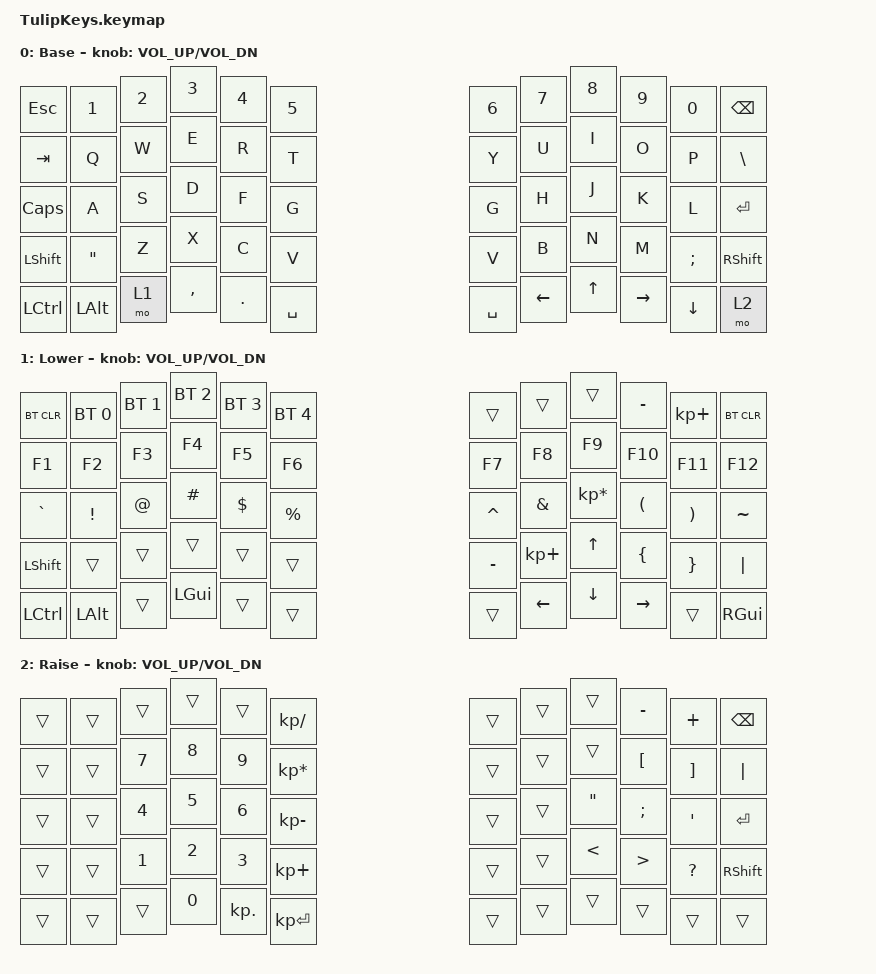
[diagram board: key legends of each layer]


#include <behaviors.dtsi>
#include <dt-bindings/zmk/keys.h>
#include <dt-bindings/zmk/bt.h>
#include <dt-bindings/zmk/ext_power.h>
#include <dt-bindings/zmk/outputs.h>

/ {
    keymap {
        compatible = "zmk,keymap";

        default_layer {
// ------------------------------------------------------------------------------------------------------------
// |  ESC  |  1  |  2  |  3   |  4   |  5   |                           |  6   |  7    |  8    |  9   |   0   |  BKSP |
// |  TAB  |  Q  |  W  |  E   |  R   |  T   |                           |  Y   |  U    |  I    |  O   |   P   |   \   |
// |  CAPS |  A  |  S  |  D   |  F   |  G   |                           |  G   |  H    |  J    |  K   |   L   |  ENT  |   
// | SHIFT |  "  |  Z  |  X   |  C   |  V   |                           |  V   |  B    |  N    |  M   |   ;   | SHIFT |
// | CTRL  | ALT | LYR |  ,   |  .   | SPC  |                           | SPC  | LARW  |  UARW | RARW | DARW  | LYR  |

            display-name = "Base";     
            bindings = <
&kp ESC   &kp N1    &kp N2    &kp N3     &kp N4     &kp N5              &kp N6     &kp N7   &kp N8     &kp N9    &kp N0     &kp BKSP
&kp TAB   &kp Q     &kp W     &kp E      &kp R      &kp T               &kp Y      &kp U    &kp I      &kp O     &kp P      &kp BSLH
&kp CAPS  &kp A     &kp S     &kp D      &kp F      &kp G               &kp G      &kp H    &kp J      &kp K     &kp L      &kp ENTER
&kp LSHFT &kp DQT &kp Z     &kp X      &kp C      &kp V               &kp V      &kp B    &kp N      &kp M     &kp SEMI    &kp RSHFT
&kp LCTRL &kp LALT  &mo 1     &kp COMMA  &kp DOT    &kp SPACE           &kp SPACE  &kp LEFT &kp UP     &kp RIGHT &kp DOWN   &mo 2
            >; 

            sensor-bindings = <&inc_dec_kp C_VOL_UP C_VOL_DN>;
        };

        lower_layer {
// ------------------------------------------------------------------------------------------------------------
// | BTCLR | BT1 | BT2 |  BT3 |  BT4 |  BT5 |                   | prv  | USB   |. BLE.   |  -   |   =   | BTCLR |
// |  F1   |  F2 |  F3 |  F4  |  F5  |  F6  |                   |  F7  |  F8   |  F9   |  F10 |  F11  |  F12  |
// |   `   |  !  |  @  |  #   | DOLL |  %   |                   |  ^   |  &    |  *    |  (   |   )   |   ~   |
// | LSHFT |     |     |      |      |      |                   |  -   |   +   | UARW  |  {   |   }   |  "|"  |
// | CTRL  | ALT |(LYR)|  GUI |      |      |                   |      | LARW  | DARW  | RARW |       |  RGUI |       
            display-name = "Lower";
            bindings = <
&bt BT_CLR &bt BT_SEL 0 &bt BT_SEL 1 &bt BT_SEL 2 &bt BT_SEL 3 &bt BT_SEL 4                 &trans   &trans    &trans    &kp MINUS  &kp KP_PLUS  &bt BT_CLR
&kp F1     &kp F2       &kp F3       &kp F4       &kp F5       &kp F6                       &kp F7       &kp F8       &kp F9          &kp F10    &kp F11   &kp F12
&kp GRAVE  &kp EXCL     &kp AT       &kp HASH     &kp DOLLAR     &kp PRCNT                    &kp CARET    &kp AMPS     &kp KP_MULTIPLY &kp LPAR   &kp RPAR  &kp TILDE
&kp LSHFT  &trans       &trans       &trans       &trans       &trans                       &kp MINUS    &kp KP_PLUS  &kp UP          &kp LBRC   &kp RBRC  &kp PIPE
&kp LCTRL  &kp LALT     &trans       &kp LGUI     &trans       &trans                       &trans       &kp LEFT     &kp DOWN        &kp RIGHT  &trans    &kp RGUI
            >; 

            sensor-bindings = <&inc_dec_kp C_VOL_UP C_VOL_DN>;
        };

        raise_layer {
// ------------------------------------------------------------------------------------------------------------
// |       |     |     |      |      |   /  |                   |      |       |        |  -   |   +  |  BKSP  |
// |       |     |  7  |  8   |  9   |   *  |                   |      |       |        |  [   |   ]  |  '|'   |
// |       |     |  4  |  5   |  6   |   -  |                   |      |       |   "    |  ;   |  '   |  ENT   |
// |       |     |  1  |  2   |  3   |   +  |                   |      |       |   <    |  >   |   ?  |  RSHFT |
// |       |     |     |  0   |  .   |   =  |                   |      |       |        |      |      |        |
                display-name = "Raise";
            bindings = <
&trans  &trans &trans    &trans     &trans     &kp KP_DIVIDE             &trans      &trans      &trans      &kp MINUS   &kp PLUS    &kp BKSP
&trans  &trans &kp N7    &kp N8     &kp N9     &kp KP_MULTIPLY           &trans      &trans      &trans      &kp LBKT    &kp RBKT    &kp PIPE
&trans  &trans &kp N4    &kp N5     &kp N6     &kp KP_MINUS              &trans      &trans      &kp DQT     &kp SEMI    &kp SQT     &kp ENTER
&trans  &trans &kp N1    &kp N2     &kp N3     &kp KP_PLUS               &trans      &trans      &kp LT      &kp GT      &kp QMARK   &kp RSHFT
&trans  &trans &trans    &kp N0     &kp KP_DOT &kp KP_ENTER              &trans      &trans      &trans      &trans      &trans      &trans
            >;
            sensor-bindings = <&inc_dec_kp C_VOL_UP C_VOL_DN>;
        };

        extra_1 {
            status = "reserved";
        };

        extra_2 {
            status = "reserved";
        };

        extra_3 {
            status = "reserved";
        };
    };
};
